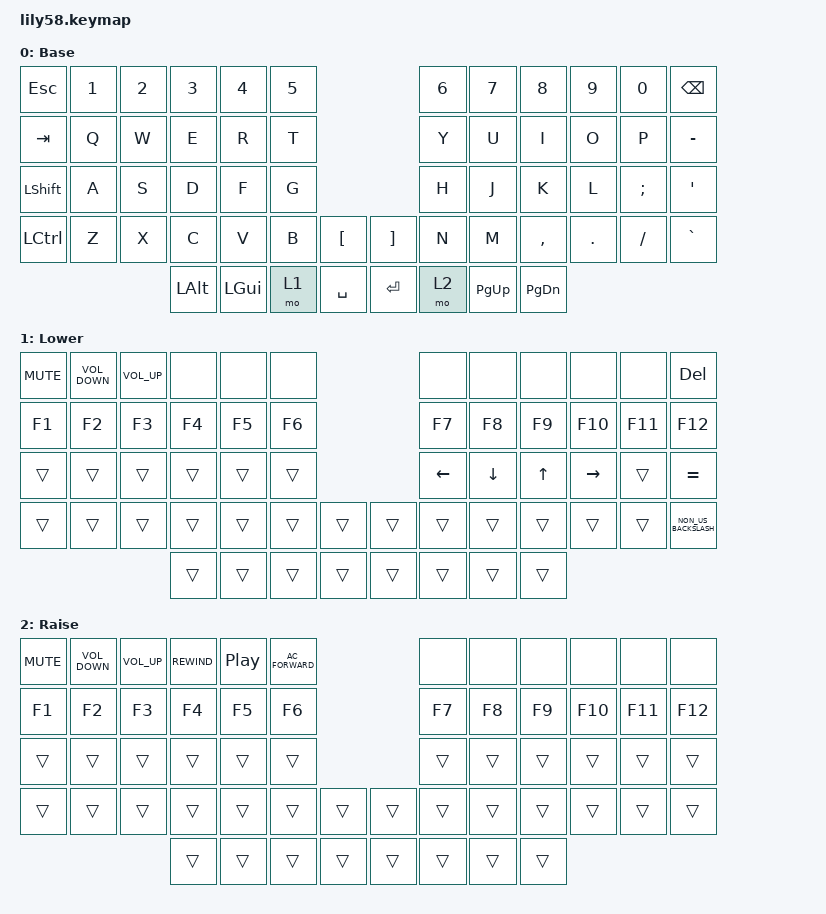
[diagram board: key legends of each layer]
/*
 * Copyright (c) 2020 The ZMK Contributors
 *
 * SPDX-License-Identifier: MIT
 */

#include <behaviors.dtsi>
#include <dt-bindings/zmk/keys.h>

/ {
    keymap {
        compatible = "zmk,keymap";

        default_layer {
            // ------------------------------------------------------------------------------------------------------------
            // |  ESC  |  1  |  2  |  3   |  4   |  5   |                   |  6   |  7    |  8    |  9   |   0   |   `   |
            // |  TAB  |  Q  |  W  |  E   |  R   |  T   |                   |  Y   |  U    |  I    |  O   |   P   |   -   |
            // |  CTRL |  A  |  S  |  D   |  F   |  G   |                   |  H   |  J    |  K    |  L   |   ;   |   '   |
            // | SHIFT |  Z  |  X  |  C   |  V   |  B   |   "["  |  |  "]"  |  N   |  M    |  ,    |  .   |   /   | SHIFT |
            //                     | ALT  | GUI  | LOWER|  SPACE |  | ENTER | RAISE| BSPC  | GUI   |

            display-name = "Base";
            bindings = <
&kp ESC           &kp N1  &kp N2  &kp N3    &kp N4    &kp N5                          &kp N6  &kp N7       &kp N8         &kp N9   &kp N0    &kp BACKSPACE
&kp TAB           &kp Q   &kp W   &kp E     &kp R     &kp T                           &kp Y   &kp U        &kp I          &kp O    &kp P     &kp MINUS
&kp LEFT_SHIFT    &kp A   &kp S   &kp D     &kp F     &kp G                           &kp H   &kp J        &kp K          &kp L    &kp SEMI  &kp SQT
&kp LEFT_CONTROL  &kp Z   &kp X   &kp C     &kp V     &kp B   &kp LBKT     &kp RBKT   &kp N   &kp M        &kp COMMA      &kp DOT  &kp FSLH  &kp GRAVE
                                  &kp LALT  &kp LGUI  &mo 1   &kp SPACE    &kp ENTER  &mo 2   &kp PAGE_UP  &kp PAGE_DOWN
            >;
        };

        lower_layer {
            // ------------------------------------------------------------------------------------------------------------
            // | BTCLR | BT1 | BT2 |  BT3 |  BT4 |  BT5 |                   |      |       |       |      |       |       |
            // |  F1   |  F2 |  F3 |  F4  |  F5  |  F6  |                   |  F7  |  F8   |  F9   |  F10 |  F11  |  F12  |
            // |   `   |  !  |  @  |  #   |  $   |  %   |                   |  ^   |  &    |  *    |  (   |   )   |   ~   |
            // |       |     |     |      |      |      |        |  |       |      |  _    |  +    |  {   |   }   |  "|"  |
            //                     |      |      |      |        |  |       |      |       |       |

            display-name = "Lower";
            bindings = <
&kp C_MUTE  &kp C_VOLUME_DOWN  &kp C_VOLUME_UP  &none   &none   &none                     &none     &none     &none   &none      &none    &kp DEL
&kp F1      &kp F2             &kp F3           &kp F4  &kp F5  &kp F6                    &kp F7    &kp F8    &kp F9  &kp F10    &kp F11  &kp F12
&trans      &trans             &trans           &trans  &trans  &trans                    &kp LEFT  &kp DOWN  &kp UP  &kp RIGHT  &trans   &kp EQUAL
&trans      &trans             &trans           &trans  &trans  &trans  &trans    &trans  &trans    &trans    &trans  &trans     &trans   &kp NON_US_BACKSLASH
                                                &trans  &trans  &trans  &trans    &trans  &trans    &trans    &trans
            >;
        };

        raise_layer {
            display-name = "Raise";
            bindings = <
&kp C_MUTE  &kp C_VOLUME_DOWN  &kp C_VOLUME_UP  &kp C_REWIND  &kp C_PP  &kp C_AC_FORWARD                    &none   &none   &none   &none    &none    &none
&kp F1      &kp F2             &kp F3           &kp F4        &kp F5    &kp F6                              &kp F7  &kp F8  &kp F9  &kp F10  &kp F11  &kp F12
&trans      &trans             &trans           &trans        &trans    &trans                              &trans  &trans  &trans  &trans   &trans   &trans
&trans      &trans             &trans           &trans        &trans    &trans            &trans    &trans  &trans  &trans  &trans  &trans   &trans   &trans
                                                &trans        &trans    &trans            &trans    &trans  &trans  &trans  &trans
            >;

            label = "raise";
        };
    };
};
